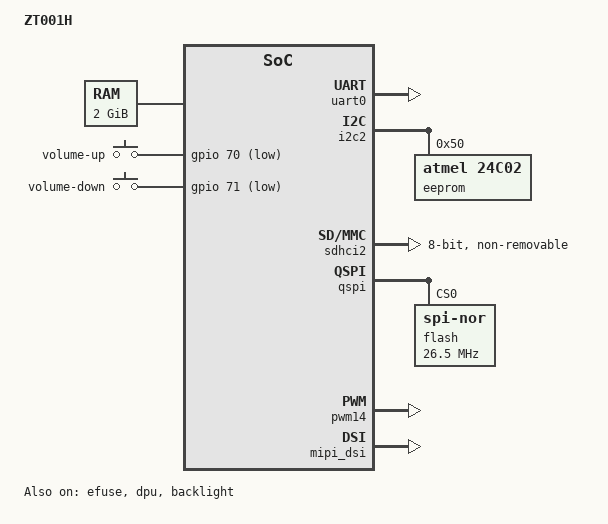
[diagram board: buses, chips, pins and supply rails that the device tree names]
// SPDX-License-Identifier: (GPL-2.0 OR MIT)
/* Copyright (c) 2023 Spacemit, Inc */

/dts-v1/;

#include "k1-x.dtsi"
#include "k1-x_pinctrl.dtsi"
#include "k1-x_spm8821.dtsi"
#include <dt-bindings/input/input.h>

/ {
	model = "ZT001H";

	aliases {
		efuse_power = &ldo_31;
	};

	memory@0 {
		device_type = "memory";
		reg = <0x00000000 0x00000000 0x00000000 0x80000000>;
	};

	chosen {
		bootargs = "earlycon=sbi console=ttyS0,115200 debug loglevel=8,initcall_debug=1 rdinit=/init.tmp";
		stdout-path = "serial0:115200n8";
	};

	gpio_keys: gpio_keys {
		compatible = "gpio-keys";
		fastboot-key-combo = "volume-up";
		fastboot-key-press-time = <2000>; /* in milliseconds */

		volume-up-button {
			label = "volume-up";
			linux,code = <KEY_VOLUMEUP>;
			gpios = <&gpio 70 1>;
			debounce-interval = <10>;
		};

		volume-down-button {
			label = "volume-down";
			linux,code = <KEY_VOLUMEDOWN>;
			gpios = <&gpio 71 1>;
			debounce-interval = <10>;
		};
	};
};

&cpus {
	timebase-frequency = <24000000>;
};

&uart0 {
	status = "okay";
};

&i2c0 {
	status = "disabled";
};

&i2c1 {
	status = "disabled";
};

&i2c2 {
	#address-cells = <1>;
	#size-cells = <0>;
	pinctrl-names = "default";
	pinctrl-0 = <&pinctrl_i2c2_0>;
	status = "okay";

	eeprom@50{
		compatible = "atmel,24c02";
		reg = <0x50>;
		vin-supply-names = "eeprom_1v8";
		status = "okay";
	};
};

&i2c3 {
	status = "disabled";
};

&i2c4 {
	clock-frequency = <400000>;
	status = "disabled";
};

&i2c5 {
	pinctrl-names = "default";
	pinctrl-0 = <&pinctrl_i2c5_0>;
	status = "disabled";
};

&i2c6 {
	status = "disabled";
};

&i2c7 {
	status = "disabled";
};

&pinctrl {
	pinctrl-single,gpio-range = <
		&range GPIO_49  2 (MUX_MODE0 | EDGE_NONE | PULL_UP   | PAD_3V_DS4)
		&range GPIO_58  1 (MUX_MODE0 | EDGE_NONE | PULL_DOWN | PAD_1V8_DS2)
		&range GPIO_63  1 (MUX_MODE0 | EDGE_NONE | PULL_DOWN | PAD_1V8_DS2)
		&range GPIO_64  1 (MUX_MODE1 | EDGE_NONE | PULL_DOWN | PAD_1V8_DS2)
		&range GPIO_65  1 (MUX_MODE0 | EDGE_NONE | PULL_UP   | PAD_1V8_DS2)
		&range GPIO_66  2 (MUX_MODE0 | EDGE_NONE | PULL_DOWN | PAD_1V8_DS2)
		&range PRI_TDI  2 (MUX_MODE1 | EDGE_NONE | PULL_UP   | PAD_1V8_DS2)
		&range PRI_TCK  1 (MUX_MODE1 | EDGE_NONE | PULL_DOWN | PAD_1V8_DS2)
		&range PRI_TDO  1 (MUX_MODE1 | EDGE_NONE | PULL_UP   | PAD_1V8_DS2)
		&range GPIO_74  1 (MUX_MODE0 | EDGE_NONE | PULL_UP   | PAD_1V8_DS2)
		&range GPIO_79  1 (MUX_MODE0 | EDGE_NONE | PULL_UP   | PAD_1V8_DS2)
		&range GPIO_80  1 (MUX_MODE0 | EDGE_NONE | PULL_UP   | PAD_3V_DS4)
		&range GPIO_81  3 (MUX_MODE0 | EDGE_NONE | PULL_UP   | PAD_1V8_DS2)
		&range GPIO_90  1 (MUX_MODE0 | EDGE_NONE | PULL_DOWN | PAD_1V8_DS2)
		&range GPIO_91  2 (MUX_MODE0 | EDGE_NONE | PULL_UP   | PAD_1V8_DS2)
		&range DVL0     2 (MUX_MODE1 | EDGE_NONE | PULL_DOWN | PAD_1V8_DS2)
		&range GPIO_110 1 (MUX_MODE0 | EDGE_NONE | PULL_DOWN | PAD_1V8_DS2)
		&range GPIO_114 1 (MUX_MODE0 | EDGE_NONE | PULL_DOWN | PAD_1V8_DS2)
		&range GPIO_115 2 (MUX_MODE0 | EDGE_NONE | PULL_DOWN | PAD_1V8_DS2)
		&range GPIO_123 1 (MUX_MODE0 | EDGE_NONE | PULL_DOWN | PAD_1V8_DS2)
		&range GPIO_124 1 (MUX_MODE0 | EDGE_NONE | PULL_UP   | PAD_1V8_DS2)
		&range GPIO_125 3 (MUX_MODE0 | EDGE_NONE | PULL_DOWN | PAD_1V8_DS2)
	>;
};

&gpio{
	gpio-ranges = <
		&pinctrl 49 GPIO_49 2
		&pinctrl 58 GPIO_58 1
		&pinctrl 63 GPIO_63 1
		&pinctrl 65 GPIO_65 3
		&pinctrl 70 PRI_TDI 4
		&pinctrl 74 GPIO_74 1
		&pinctrl 79 GPIO_79 1
		&pinctrl 80 GPIO_80 4
		&pinctrl 90 GPIO_90 3
		&pinctrl 96 DVL0 2
		&pinctrl 110 GPIO_110 1
		&pinctrl 114 GPIO_114 3
		&pinctrl 123 GPIO_123 5
	>;
};

/* eMMC */
&sdhci2 {
	bus-width = <8>;
	non-removable;
	mmc-hs400-1_8v;
	mmc-hs400-enhanced-strobe;
	sdh-phy-module = <1>;
	clk-src-freq = <375000000>;
	status = "okay";
};

&qspi {
	status = "okay";
	pinctrl-names = "default";
	pinctrl-0 = <&pinctrl_qspi>;

	flash@0 {
		compatible = "jedec,spi-nor";
		reg = <0>;
		spi-max-frequency = <26500000>;
		m25p,fast-read;
		broken-flash-reset;
		status = "okay";
	};
};

&efuse {
	status = "okay";
};

&ldo_27 {
	regulator-init-microvolt = <1200000>;
	regulator-boot-on;
	regulator-state-mem {
			regulator-off-in-suspend;
	};
};

&ldo_33 {
	regulator-init-microvolt = <1800000>;
	regulator-boot-on;
	regulator-state-mem {
			regulator-off-in-suspend;
	};
};

&dpu {
	status = "okay";
};

&pwm14 {
	pinctrl-names = "default";
	pinctrl-0 = <&pinctrl_pwm14_1>;
	status = "okay";
};

&backlight {
	pwms = <&pwm14 0 2000>;
	default-brightness-level = <6>;
	status = "okay";
};

&mipi_dsi {
	status = "okay";
};

&panel {
	force-attached = "ft8201sinx101";
	dcp-gpios = <&gpio 34 0>;
	dcn-gpios = <&gpio 42 0>;
	avee-gpios = <&gpio 35 0>;
	avdd-gpios = <&gpio 36 0>;
	backlight = <&backlight>;
	enable-gpios = <&gpio 31 0>;
	reset-gpios = <&gpio 30 0>;
	status = "okay";
};
